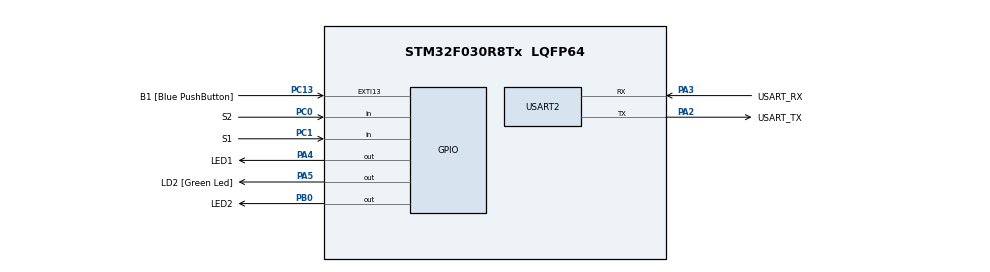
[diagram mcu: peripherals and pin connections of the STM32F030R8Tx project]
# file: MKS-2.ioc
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Mcu.Family=STM32F0
Mcu.Name=STM32F030R8Tx
Mcu.Package=LQFP64
PA13.GPIO_Label=TMS
PA13.Mode=Serial_Wire
PA13.Signal=SYS_SWDIO
PA14.GPIO_Label=TCK
PA14.Mode=Serial_Wire
PA14.Signal=SYS_SWCLK
PA2.GPIO_Label=USART_TX
PA2.GPIO_Mode=GPIO_MODE_AF_PP
PA2.GPIO_PuPd=GPIO_NOPULL
PA2.GPIO_Speed=GPIO_SPEED_FREQ_LOW
PA2.Mode=Asynchronous
PA2.Signal=USART2_TX
PA3.GPIO_Label=USART_RX
PA3.GPIO_Mode=GPIO_MODE_AF_PP
PA3.GPIO_PuPd=GPIO_NOPULL
PA3.GPIO_Speed=GPIO_SPEED_FREQ_LOW
PA3.Mode=Asynchronous
PA3.Signal=USART2_RX
PA4.GPIO_Label=LED1
PA4.Signal=GPIO_Output
PA5.GPIO_Label=LD2 [Green Led]
PA5.GPIO_Mode=GPIO_MODE_OUTPUT_PP
PA5.GPIO_PuPd=GPIO_NOPULL
PA5.GPIO_Speed=GPIO_SPEED_FREQ_LOW
PA5.Signal=GPIO_Output
PB0.GPIO_Label=LED2
PB0.Signal=GPIO_Output
PC0.GPIO_Label=S2
PC0.GPIO_PuPd=GPIO_PULLUP
PC0.Signal=GPIO_Input
PC1.GPIO_Label=S1
PC1.GPIO_PuPd=GPIO_PULLUP
PC1.Signal=GPIO_Input
PC13.GPIO_Label=B1 [Blue PushButton]
PC13.GPIO_ModeDefaultEXTI=GPIO_MODE_IT_FALLING
PC13.Signal=GPXTI13
PC14-OSC32_IN.Mode=LSE-External-Oscillator
PC14-OSC32_IN.Signal=RCC_OSC32_IN
PC15-OSC32_OUT.Mode=LSE-External-Oscillator
PC15-OSC32_OUT.Signal=RCC_OSC32_OUT
PF0-OSC_IN.Mode=HSE-External-Clock-Source
PF0-OSC_IN.Signal=RCC_OSC_IN
PF1-OSC_OUT.Signal=RCC_OSC_OUT
ProjectManager.HeapSize=0x200
ProjectManager.StackSize=0x400
ProjectManager.TargetToolchain=STM32CubeIDE
RCC.AHBFreq_Value=48000000
RCC.APB1Freq_Value=48000000
RCC.APB1TimFreq_Value=48000000
RCC.HCLKFreq_Value=48000000
RCC.PLLMUL=RCC_PLL_MUL12
RCC.SYSCLKFreq_VALUE=48000000
RCC.SYSCLKSource=RCC_SYSCLKSOURCE_PLLCLK
USART2.VirtualMode-Asynchronous=VM_ASYNC
board=NUCLEO-F030R8

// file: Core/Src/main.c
/* USER CODE BEGIN Header */
/**
 ******************************************************************************
 * @file           : main.c
 * @brief          : Main program body
 ******************************************************************************
 * @attention
 *
 * Copyright (c) 2024 STMicroelectronics.
 * All rights reserved.
 *
 * This software is licensed under terms that can be found in the LICENSE file
 * in the root directory of this software component.
 * If no LICENSE file comes with this software, it is provided AS-IS.
 *
 ******************************************************************************
 */
/* USER CODE END Header */
#include "main.h"

/* USER CODE BEGIN PD */
#define BLINK_TIME 300
#define BUTTON_TIME 40
#define LED_TIME_SHORT 100
#define LED_TIME_LONG 1000
#define DELAY 5
/* USER CODE END PD */

/* USER CODE BEGIN PV */
volatile uint32_t tick;
/* USER CODE END PV */

void SystemClock_Config(void);
static void MX_GPIO_Init(void);
static void MX_USART2_UART_Init(void);

/* USER CODE BEGIN 0 */
static void blink() {

	static uint32_t last_blink_tick;

	if (tick > last_blink_tick + BLINK_TIME) {
		last_blink_tick = tick;

		//LL_GPIO_TogglePin(LED1_GPIO_Port, LED1_Pin);
	}

}

static void button1() {

	static uint32_t last_button_tick;
	static uint32_t off_time;
	static uint16_t debounce = 0xFFFF;
	static uint32_t debounce_tick;

	// Novy zpusob vzorkovani S1 pro toggle LED1
	if (tick > debounce_tick + DELAY) {
		debounce_tick = tick;

		if (!LL_GPIO_IsInputPinSet(S1_GPIO_Port, S1_Pin)) {
			debounce <<= 1;
		}
		else {
			debounce <<= 1;
			debounce |= 1;
		}
		if (debounce == 0x8000) {
			LL_GPIO_TogglePin(LED1_GPIO_Port, LED1_Pin);
		}

	}

	// Vzorkovani tlacitka
	if (tick > last_button_tick + BUTTON_TIME) {
		last_button_tick = tick;

		static uint32_t old_s2;
		uint32_t new_s2 = LL_GPIO_IsInputPinSet(S2_GPIO_Port, S2_Pin);

		// S1 se pouziva pro nove vzorkovani, takze ho vypneme
		//static uint32_t old_s1;
		//uint32_t new_s1 = LL_GPIO_IsInputPinSet(S1_GPIO_Port, S1_Pin);

		if (old_s2 && !new_s2) { // falling edge
			off_time = tick + LED_TIME_SHORT;
			LL_GPIO_SetOutputPin(LED2_GPIO_Port, LED2_Pin);
		}
		old_s2 = new_s2;

		//if (old_s1 && !new_s1) { // falling edge
		//	off_time = tick + LED_TIME_LONG;
		//	LL_GPIO_SetOutputPin(LED2_GPIO_Port, LED2_Pin);
		//}
		//old_s1 = new_s1;
	}

	// Zhasinani LEDky
	if (tick > off_time) {
		LL_GPIO_ResetOutputPin(LED2_GPIO_Port, LED2_Pin);
	}

}

/* USER CODE END 0 */

int main(void)
{

  /* MCU Configuration--------------------------------------------------------*/

  /* Reset of all peripherals, Initializes the Flash interface and the Systick. */
  LL_APB1_GRP2_EnableClock(LL_APB1_GRP2_PERIPH_SYSCFG);
  LL_APB1_GRP1_EnableClock(LL_APB1_GRP1_PERIPH_PWR);

  /* Configure the system clock */
  SystemClock_Config();

  /* Initialize all configured peripherals */
  MX_GPIO_Init();
  MX_USART2_UART_Init();
  /* USER CODE BEGIN 2 */
	LL_SYSTICK_EnableIT();
  /* USER CODE END 2 */

  /* Infinite loop */
  /* USER CODE BEGIN WHILE */
	while (1)
	{
		blink();

		button1();
    /* USER CODE END WHILE */

	}
}

void SystemClock_Config(void)
{
  LL_FLASH_SetLatency(LL_FLASH_LATENCY_1);
  while(LL_FLASH_GetLatency() != LL_FLASH_LATENCY_1)
  {
  }
  LL_RCC_HSI_Enable();

   /* Wait till HSI is ready */
  while(LL_RCC_HSI_IsReady() != 1)
  {

  }
  LL_RCC_HSI_SetCalibTrimming(16);
  LL_RCC_PLL_ConfigDomain_SYS(LL_RCC_PLLSOURCE_HSI_DIV_2, LL_RCC_PLL_MUL_12);
  LL_RCC_PLL_Enable();

   /* Wait till PLL is ready */
  while(LL_RCC_PLL_IsReady() != 1)
  {

  }
  LL_RCC_SetAHBPrescaler(LL_RCC_SYSCLK_DIV_1);
  LL_RCC_SetAPB1Prescaler(LL_RCC_APB1_DIV_1);
  LL_RCC_SetSysClkSource(LL_RCC_SYS_CLKSOURCE_PLL);

   /* Wait till System clock is ready */
  while(LL_RCC_GetSysClkSource() != LL_RCC_SYS_CLKSOURCE_STATUS_PLL)
  {

  }
  LL_Init1msTick(48000000);
  LL_SetSystemCoreClock(48000000);
}

static void MX_USART2_UART_Init(void)
{

  LL_USART_InitTypeDef USART_InitStruct = {0};

  LL_GPIO_InitTypeDef GPIO_InitStruct = {0};

  /* Peripheral clock enable */
  LL_APB1_GRP1_EnableClock(LL_APB1_GRP1_PERIPH_USART2);

  LL_AHB1_GRP1_EnableClock(LL_AHB1_GRP1_PERIPH_GPIOA);
  /**USART2 GPIO Configuration
  PA2   ------> USART2_TX
  PA3   ------> USART2_RX
  */
  GPIO_InitStruct.Pin = USART_TX_Pin;
  GPIO_InitStruct.Mode = LL_GPIO_MODE_ALTERNATE;
  GPIO_InitStruct.Speed = LL_GPIO_SPEED_FREQ_LOW;
  GPIO_InitStruct.OutputType = LL_GPIO_OUTPUT_PUSHPULL;
  GPIO_InitStruct.Pull = LL_GPIO_PULL_NO;
  GPIO_InitStruct.Alternate = LL_GPIO_AF_1;
  LL_GPIO_Init(USART_TX_GPIO_Port, &GPIO_InitStruct);

  GPIO_InitStruct.Pin = USART_RX_Pin;
  GPIO_InitStruct.Mode = LL_GPIO_MODE_ALTERNATE;
  GPIO_InitStruct.Speed = LL_GPIO_SPEED_FREQ_LOW;
  GPIO_InitStruct.OutputType = LL_GPIO_OUTPUT_PUSHPULL;
  GPIO_InitStruct.Pull = LL_GPIO_PULL_NO;
  GPIO_InitStruct.Alternate = LL_GPIO_AF_1;
  LL_GPIO_Init(USART_RX_GPIO_Port, &GPIO_InitStruct);

  USART_InitStruct.BaudRate = 38400;
  USART_InitStruct.DataWidth = LL_USART_DATAWIDTH_8B;
  USART_InitStruct.StopBits = LL_USART_STOPBITS_1;
  USART_InitStruct.Parity = LL_USART_PARITY_NONE;
  USART_InitStruct.TransferDirection = LL_USART_DIRECTION_TX_RX;
  USART_InitStruct.HardwareFlowControl = LL_USART_HWCONTROL_NONE;
  USART_InitStruct.OverSampling = LL_USART_OVERSAMPLING_16;
  LL_USART_Init(USART2, &USART_InitStruct);
  LL_USART_DisableIT_CTS(USART2);
  LL_USART_ConfigAsyncMode(USART2);
  LL_USART_Enable(USART2);

}

static void MX_GPIO_Init(void)
{
  LL_EXTI_InitTypeDef EXTI_InitStruct = {0};
  LL_GPIO_InitTypeDef GPIO_InitStruct = {0};

  /* GPIO Ports Clock Enable */
  LL_AHB1_GRP1_EnableClock(LL_AHB1_GRP1_PERIPH_GPIOC);
  LL_AHB1_GRP1_EnableClock(LL_AHB1_GRP1_PERIPH_GPIOF);
  LL_AHB1_GRP1_EnableClock(LL_AHB1_GRP1_PERIPH_GPIOA);
  LL_AHB1_GRP1_EnableClock(LL_AHB1_GRP1_PERIPH_GPIOB);

  /**/
  LL_GPIO_ResetOutputPin(LED1_GPIO_Port, LED1_Pin);

  /**/
  LL_GPIO_ResetOutputPin(LD2_GPIO_Port, LD2_Pin);

  /**/
  LL_GPIO_ResetOutputPin(LED2_GPIO_Port, LED2_Pin);

  /**/
  LL_SYSCFG_SetEXTISource(LL_SYSCFG_EXTI_PORTC, LL_SYSCFG_EXTI_LINE13);

  /**/
  LL_GPIO_SetPinPull(B1_GPIO_Port, B1_Pin, LL_GPIO_PULL_NO);

  /**/
  LL_GPIO_SetPinMode(B1_GPIO_Port, B1_Pin, LL_GPIO_MODE_INPUT);

  /**/
  EXTI_InitStruct.Line_0_31 = LL_EXTI_LINE_13;
  EXTI_InitStruct.LineCommand = ENABLE;
  EXTI_InitStruct.Mode = LL_EXTI_MODE_IT;
  EXTI_InitStruct.Trigger = LL_EXTI_TRIGGER_FALLING;
  LL_EXTI_Init(&EXTI_InitStruct);

  /**/
  GPIO_InitStruct.Pin = S2_Pin;
  GPIO_InitStruct.Mode = LL_GPIO_MODE_INPUT;
  GPIO_InitStruct.Pull = LL_GPIO_PULL_UP;
  LL_GPIO_Init(S2_GPIO_Port, &GPIO_InitStruct);

  /**/
  GPIO_InitStruct.Pin = S1_Pin;
  GPIO_InitStruct.Mode = LL_GPIO_MODE_INPUT;
  GPIO_InitStruct.Pull = LL_GPIO_PULL_UP;
  LL_GPIO_Init(S1_GPIO_Port, &GPIO_InitStruct);

  /**/
  GPIO_InitStruct.Pin = LED1_Pin;
  GPIO_InitStruct.Mode = LL_GPIO_MODE_OUTPUT;
  GPIO_InitStruct.Speed = LL_GPIO_SPEED_FREQ_LOW;
  GPIO_InitStruct.OutputType = LL_GPIO_OUTPUT_PUSHPULL;
  GPIO_InitStruct.Pull = LL_GPIO_PULL_NO;
  LL_GPIO_Init(LED1_GPIO_Port, &GPIO_InitStruct);

  /**/
  GPIO_InitStruct.Pin = LD2_Pin;
  GPIO_InitStruct.Mode = LL_GPIO_MODE_OUTPUT;
  GPIO_InitStruct.Speed = LL_GPIO_SPEED_FREQ_LOW;
  GPIO_InitStruct.OutputType = LL_GPIO_OUTPUT_PUSHPULL;
  GPIO_InitStruct.Pull = LL_GPIO_PULL_NO;
  LL_GPIO_Init(LD2_GPIO_Port, &GPIO_InitStruct);

  /**/
  GPIO_InitStruct.Pin = LED2_Pin;
  GPIO_InitStruct.Mode = LL_GPIO_MODE_OUTPUT;
  GPIO_InitStruct.Speed = LL_GPIO_SPEED_FREQ_LOW;
  GPIO_InitStruct.OutputType = LL_GPIO_OUTPUT_PUSHPULL;
  GPIO_InitStruct.Pull = LL_GPIO_PULL_NO;
  LL_GPIO_Init(LED2_GPIO_Port, &GPIO_InitStruct);

}

void Error_Handler(void)
{
	__disable_irq();
	while (1)
	{
	}
}
